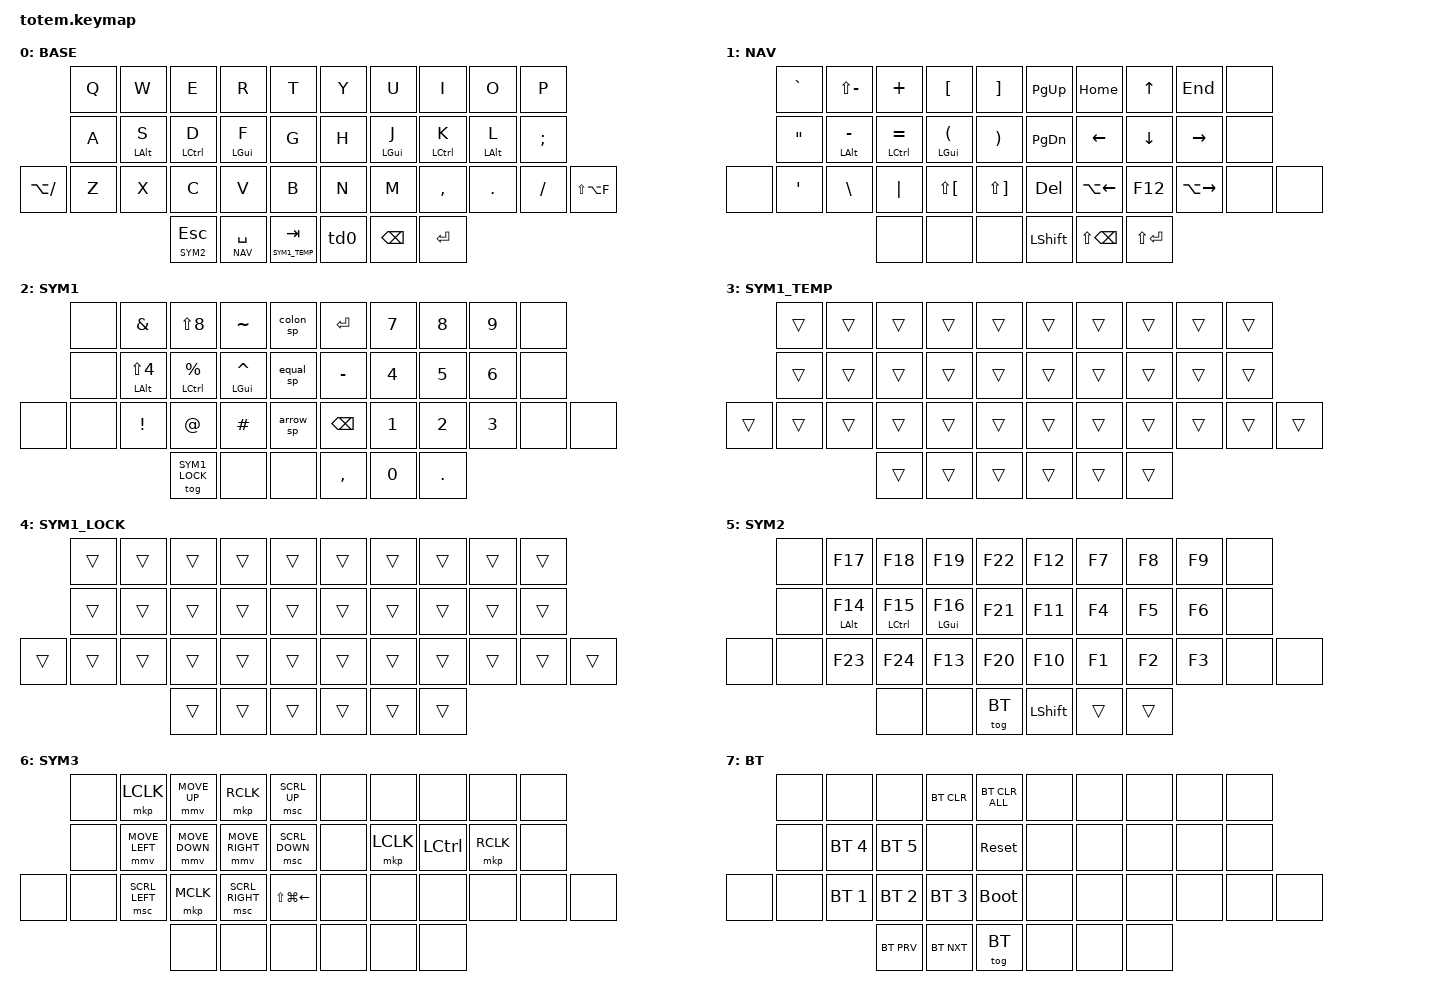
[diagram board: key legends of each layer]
//
//                                                        ▀▀▀▀▀     ▀▀▀▀▀          ▀▀█▀▀
//                                                        ▄▀▀▀▄  ▄  ▄▀▀▀▄  ▄  ▄▀▀▀▄  █  ▄▀▀▀▄
//                                                        █   █  █  █   █  █  █   █  █  █   █
//                                                         ▀▀▀   █   ▀▀▀   █   ▀▀▀   ▀   ▀▀▀
//                                                               █      ▄▄▄█▄▄▄    █   █  
//                                                               ▀      █  █  █     █▄█
//                                                             ▀▀▀▀▀    █  █  █      ▀
//                                                                      ▀  ▀  ▀
//
// ▄▄▄▄▄▄▄▄▄▄▄▄▄▄▄▄▄▄▄▄▄▄▄▄▄▄▄▄▄▄▄▄▄▄▄▄▄▄▄▄▄▄▄▄▄▄▄▄▄▄▄▄▄▄▄▄▄▄▄▄▄▄▄▄▄▄▄▄▄▄▄▄▄▄▄▄▄▄▄▄▄▄▄▄▄▄▄▄▄▄▄▄▄▄▄▄▄▄▄▄▄▄▄▄▄▄▄▄▄▄▄▄▄▄▄▄▄▄▄▄▄▄▄▄▄▄▄▄▄▄▄▄▄▄▄▄▄▄▄▄▄▄▄▄▄▄▄▄▄
       

#include <behaviors.dtsi>
#include <dt-bindings/zmk/keys.h>
#include <dt-bindings/zmk/pointing.h>
#include <dt-bindings/zmk/hid_usage.h>
#include <dt-bindings/zmk/bt.h>
#include <dt-bindings/zmk/outputs.h>

#define BASE 0
#define NAV  1
#define SYM1  2
#define SYM1_TEMP 3
#define SYM1_LOCK 4
#define SYM2  5
#define SYM3  6
#define BT 7

&mt {
  quick-tap-ms = <100>;
  global-quick-tap;
  flavor = "tap-preferred";
  tapping-term-ms = <170>;
};

/ {
    behaviors {
        ht: high_delay_mod_tap {
            compatible = "zmk,behavior-hold-tap";
            #binding-cells = <2>;
            flavor = "tap-preferred";
            tapping-term-ms = <225>;
            quick-tap-ms = <225>;
            bindings = <&kp>, <&kp>;
            display-name = "High-Delay-Mod-Tap";
        };
        td0: tap_dance_0 {
            compatible = "zmk,behavior-tap-dance";
            #binding-cells = <0>;
            tapping-term-ms = <225>;
            bindings = <&kp LSHFT>, <&mo SYM3>;
        };
    };
    macros {
        colon_sp: colon_sp {
            compatible = "zmk,behavior-macro";
            #binding-cells = <0>;
            label = "COLON_SPACE";
            bindings = <
                &kp LS(SEMI)
                &kp SPACE
            >;
        };
        equal_sp: equal_sp {
            compatible = "zmk,behavior-macro";
            #binding-cells = <0>;
            label = "EQUAL_SPACE";
            bindings = <
                &kp SPACE
                &kp EQUAL
                &kp SPACE
            >;
        };
        arrow_sp: arrow_sp {
            compatible = "zmk,behavior-macro";
            #binding-cells = <0>;
            label = "ARROW_SPACE";
            bindings = <
                &kp SPACE
                &kp MINUS
                &kp LS(DOT)
                &kp SPACE
            >;
        };
    };
    conditional_layers {
        compatible = "zmk,conditional-layers";
        sym1_temp {
            if-layers = <SYM1_TEMP>;
            then-layer = <SYM1>;
        };
        sym1_lock {
            if-layers = <SYM1_LOCK>;
            then-layer = <SYM1>;
        };
    };

        keymap {
                compatible = "zmk,keymap";
// ▄▄▄▄▄▄▄▄▄▄▄▄▄▄▄▄▄▄▄▄▄▄▄▄▄▄▄▄▄▄▄▄▄▄▄▄▄▄▄▄▄▄▄▄▄▄▄▄▄▄▄▄▄▄▄▄▄▄▄▄▄▄▄▄▄▄▄▄▄▄▄▄▄▄▄▄▄▄▄▄▄▄▄▄▄▄▄▄▄▄▄▄▄▄▄▄▄▄▄▄▄▄▄▄▄▄▄▄▄▄▄▄▄▄▄▄▄▄▄▄▄▄▄▄▄▄▄▄▄▄▄▄▄▄▄▄▄▄▄▄▄▄▄▄▄▄▄▄▄

                base_layer {
// ┏━━━━━━━━━━━━━━━━━━━━━━━━━━━━━━━━━━━━━━━┓
label= "BASE"                              ;
// ┗━━━━━━━━━━━━━━━━━━━━━━━━━━━━━━━━━━━━━━━┛
//             ┏━━━━━━━━━━━┳━━━━━━━━━━━┳━━━━━━━━━━━┳━━━━━━━━━━━┳━━━━━━━━━━━┓   ┏━━━━━━━━━━━┳━━━━━━━━━━━┳━━━━━━━━━━━┳━━━━━━━━━━━┳━━━━━━━━━━━┓
//             ┃     Q     ┃     W     ┃     E     ┃     R     ┃     T     ┃   ┃     Y     ┃     U     ┃     I     ┃     O     ┃     P     ┃
//             ┣━━━━━━━━━━━╋━━━━━━━━━━━╋━━━━━━━━━━━╋━━━━━━━━━━━╋━━━━━━━━━━━┫   ┣━━━━━━━━━━━╋━━━━━━━━━━━╋━━━━━━━━━━━╋━━━━━━━━━━━╋━━━━━━━━━━━┫
//             ┃     A     ┃  LALT S   ┃  LCTRL D  ┃  LGUI F   ┃     G     ┃   ┃     H     ┃   LGUI J  ┃  LCTRL K  ┃  LALT L   ┃     ;     ┃
// ┏━━━━━━━━━━━╋━━━━━━━━━━━╋━━━━━━━━━━━╋━━━━━━━━━━━╋━━━━━━━━━━━╋━━━━━━━━━━━┫   ┣━━━━━━━━━━━╋━━━━━━━━━━━╋━━━━━━━━━━━╋━━━━━━━━━━━╋━━━━━━━━━━━╋━━━━━━━━━━━┓
// ┃ LA(FSLH)  ┃     Z     ┃     X     ┃     C     ┃     V     ┃     B     ┃   ┃     N     ┃     M     ┃     ,     ┃     .     ┃     /     ┃ LS(LA(F)) ┃
// ┗━━━━━━━━━━━┻━━━━━━━━━━━┻━━━━━━━━━━━╋━━━━━━━━━━━╋━━━━━━━━━━━╋━━━━━━━━━━━┫   ┣━━━━━━━━━━━╋━━━━━━━━━━━╋━━━━━━━━━━━╋━━━━━━━━━━━┻━━━━━━━━━━━┻━━━━━━━━━━━┛
//                                     ┃ SYM2 ESC  ┃ NAV SPACE ┃ SYM1 TAB  ┃   ┃LSHIFT|SYM3┃    BSPC   ┃   ENTER   ┃
//                                     ┗━━━━━━━━━━━┻━━━━━━━━━━━┻━━━━━━━━━━━┛   ┗━━━━━━━━━━━┻━━━━━━━━━━━┻━━━━━━━━━━━┛
 bindings = <
// ╷           ╷           ╷           ╷           ╷           ╷           ╷      ╷           ╷             ╷           ╷           ╷              ╷           ╷

                &kp Q       &kp W       &kp E       &kp R       &kp T              &kp Y       &kp U         &kp I       &kp O       &kp P
                &kp A       &ht LALT S  &ht LCTRL D &ht LGUI F  &kp G              &kp H       &ht LGUI J    &ht LCTRL K &ht LALT L  &kp SEMI
 &kp LA(FSLH)   &kp Z       &kp X       &kp C       &kp V       &kp B              &kp N       &kp M         &kp COMMA   &kp DOT     &kp FSLH       &kp LS(LA(F))
                                     &lt SYM2 ESC &lt NAV SPACE &lt SYM1_TEMP TAB  &td0        &kp BSPC      &kp ENTER
                        >;
                };
// ▄▄▄▄▄▄▄▄▄▄▄▄▄▄▄▄▄▄▄▄▄▄▄▄▄▄▄▄▄▄▄▄▄▄▄▄▄▄▄▄▄▄▄▄▄▄▄▄▄▄▄▄▄▄▄▄▄▄▄▄▄▄▄▄▄▄▄▄▄▄▄▄▄▄▄▄▄▄▄▄▄▄▄▄▄▄▄▄▄▄▄▄▄▄▄▄▄▄▄▄▄▄▄▄▄▄▄▄▄▄▄▄▄▄▄▄▄▄▄▄▄▄▄▄▄▄▄▄▄▄▄▄▄▄▄▄▄▄▄▄▄▄▄▄▄▄▄▄▄


                navi_layer {
// ┏━━━━━━━━━━━━━━━━━━━━━━━━━━━━━━━━━━━━━━━┓
label= "NAV"                              ;
// ┗━━━━━━━━━━━━━━━━━━━━━━━━━━━━━━━━━━━━━━━┛
//             ┏━━━━━━━━━━━┳━━━━━━━━━━━┳━━━━━━━━━━━┳━━━━━━━━━━━┳━━━━━━━━━━━┓   ┏━━━━━━━━━━━┳━━━━━━━━━━━┳━━━━━━━━━━━┳━━━━━━━━━━━┳━━━━━━━━━━━┓
//             ┃     `     ┃     _     ┃     +     ┃     [     ┃     ]     ┃   ┃  PAGE_UP  ┃    HOME   ┃     UP    ┃    END    ┃           ┃
//             ┣━━━━━━━━━━━╋━━━━━━━━━━━╋━━━━━━━━━━━╋━━━━━━━━━━━╋━━━━━━━━━━━┫   ┣━━━━━━━━━━━╋━━━━━━━━━━━╋━━━━━━━━━━━╋━━━━━━━━━━━╋━━━━━━━━━━━┫
//             ┃     "     ┃   LALT -  ┃  LCTRL =  ┃  LGUI (   ┃     )     ┃   ┃ PAGE_DOWN ┃    LEFT   ┃    DOWN   ┃   RIGHT   ┃           ┃
// ┏━━━━━━━━━━━╋━━━━━━━━━━━╋━━━━━━━━━━━╋━━━━━━━━━━━╋━━━━━━━━━━━╋━━━━━━━━━━━┫   ┣━━━━━━━━━━━╋━━━━━━━━━━━╋━━━━━━━━━━━╋━━━━━━━━━━━╋━━━━━━━━━━━╋━━━━━━━━━━━┓
// ┃           ┃     '     ┃     \     ┃     |     ┃     {     ┃     }     ┃   ┃    DEL    ┃    BACK   ┃DECLARATION┃  FORWARD  ┃           ┃           ┃
// ┗━━━━━━━━━━━┻━━━━━━━━━━━┻━━━━━━━━━━━╋━━━━━━━━━━━╋━━━━━━━━━━━╋━━━━━━━━━━━┫   ┣━━━━━━━━━━━╋━━━━━━━━━━━╋━━━━━━━━━━━╋━━━━━━━━━━━┻━━━━━━━━━━━┻━━━━━━━━━━━┛
//                                     ┃           ┃     *     ┃           ┃   ┃   LSHFT   ┃  LS(BSPC) ┃ LS(ENTER) ┃
//                                     ┗━━━━━━━━━━━┻━━━━━━━━━━━┻━━━━━━━━━━━┛   ┗━━━━━━━━━━━┻━━━━━━━━━━━┻━━━━━━━━━━━┛
 bindings = <
// ╷           ╷            ╷               ╷              ╷              ╷           ╷  ╷                ╷                ╷              ╷                 ╷           ╷           ╷

                &kp GRAVE    &kp LS(MINUS)   &kp PLUS        &kp LBKT       &kp RBKT       &kp PAGE_UP      &kp HOME         &kp UP        &kp END           &none
                &kp DQT      &ht LALT MINUS  &ht LCTRL EQUAL &ht LGUI LPAR  &kp RPAR       &kp PAGE_DOWN    &kp LEFT         &kp DOWN      &kp RIGHT         &none
    &none       &kp APOS     &kp BSLH        &kp PIPE        &kp LS(LBKT)   &kp LS(RBKT)   &kp DEL          &kp LA(LEFT)     &kp F12       &kp LA(RIGHT)     &none       &none
                                             &none           &none          &none          &kp LSHFT        &kp LS(BSPC)     &kp LS(ENTER)
                        >;
                };

// ▄▄▄▄▄▄▄▄▄▄▄▄▄▄▄▄▄▄▄▄▄▄▄▄▄▄▄▄▄▄▄▄▄▄▄▄▄▄▄▄▄▄▄▄▄▄▄▄▄▄▄▄▄▄▄▄▄▄▄▄▄▄▄▄▄▄▄▄▄▄▄▄▄▄▄▄▄▄▄▄▄▄▄▄▄▄▄▄▄▄▄▄▄▄▄▄▄▄▄▄▄▄▄▄▄▄▄▄▄▄▄▄▄▄▄▄▄▄▄▄▄▄▄▄▄▄▄▄▄▄▄▄▄▄▄▄▄▄▄▄▄▄▄▄▄▄▄▄▄


                symbol_layer1 {
// ┏━━━━━━━━━━━━━━━━━━━━━━━━━━━━━━━━━━━━━━━┓
label= "SYM1"                              ;
// ┗━━━━━━━━━━━━━━━━━━━━━━━━━━━━━━━━━━━━━━━┛
//             ┏━━━━━━━━━━━┳━━━━━━━━━━━┳━━━━━━━━━━━┳━━━━━━━━━━━┳━━━━━━━━━━━┓   ┏━━━━━━━━━━━┳━━━━━━━━━━━┳━━━━━━━━━━━┳━━━━━━━━━━━┳━━━━━━━━━━━┓
//             ┃           ┃     &     ┃     *     ┃     ~     ┃    ': '   ┃   ┃   ENTER   ┃     7     ┃     8     ┃     9     ┃           ┃
//             ┣━━━━━━━━━━━╋━━━━━━━━━━━╋━━━━━━━━━━━╋━━━━━━━━━━━╋━━━━━━━━━━━┫   ┣━━━━━━━━━━━╋━━━━━━━━━━━╋━━━━━━━━━━━╋━━━━━━━━━━━╋━━━━━━━━━━━┫
//             ┃           ┃  LALT $   ┃  LCTRL %  ┃  LGUI ^   ┃   ' = '   ┃   ┃     -     ┃     4     ┃     5     ┃     6     ┃           ┃
// ┏━━━━━━━━━━━╋━━━━━━━━━━━╋━━━━━━━━━━━╋━━━━━━━━━━━╋━━━━━━━━━━━╋━━━━━━━━━━━┫   ┣━━━━━━━━━━━╋━━━━━━━━━━━╋━━━━━━━━━━━╋━━━━━━━━━━━╋━━━━━━━━━━━╋━━━━━━━━━━━┓
// ┃           ┃           ┃     !     ┃     @     ┃     #     ┃   ' -> '  ┃   ┃   BSPC    ┃     1     ┃     2     ┃     3     ┃           ┃           ┃
// ┗━━━━━━━━━━━┻━━━━━━━━━━━┻━━━━━━━━━━━╋━━━━━━━━━━━╋━━━━━━━━━━━╋━━━━━━━━━━━┫   ┣━━━━━━━━━━━╋━━━━━━━━━━━╋━━━━━━━━━━━╋━━━━━━━━━━━┻━━━━━━━━━━━┻━━━━━━━━━━━┛
//                                     ┃ SYM1_LOCK ┃           ┃     *     ┃   ┃     ,     ┃     0     ┃     .     ┃
//                                     ┗━━━━━━━━━━━┻━━━━━━━━━━━┻━━━━━━━━━━━┛   ┗━━━━━━━━━━━┻━━━━━━━━━━━┻━━━━━━━━━━━┛
 bindings = <
// ╷           ╷           ╷                ╷               ╷              ╷         ╷   ╷           ╷           ╷           ╷           ╷           ╷           ╷

                &none       &kp AMPS         &kp LS(N8)      &kp TILDE      &colon_sp     &kp ENTER   &kp N7      &kp N8      &kp N9      &none
                &none       &ht LALT LS(N4)  &ht LCTRL PRCNT &ht LGUI CARET &equal_sp     &kp MINUS   &kp N4      &kp N5      &kp N6      &none
    &none       &none       &kp EXCL         &kp AT          &kp HASH       &arrow_sp     &kp BSPC    &kp N1      &kp N2      &kp N3      &none       &none
                                             &tog SYM1_LOCK  &none          &none         &kp COMMA   &kp N0      &kp DOT
                        >;
                };

                symbol_layer1_temp {
label= "SYM1_TEMP"                              ;
 bindings = <
                &trans &trans &trans &trans &trans  &trans &trans &trans &trans &trans
                &trans &trans &trans &trans &trans  &trans &trans &trans &trans &trans
         &trans &trans &trans &trans &trans &trans  &trans &trans &trans &trans &trans &trans
                              &trans &trans &trans  &trans &trans &trans
                        >;
                };

                symbol_layer1_lock {
label= "SYM1_LOCK"                              ;
 bindings = <
                &trans &trans &trans &trans &trans  &trans &trans &trans &trans &trans
                &trans &trans &trans &trans &trans  &trans &trans &trans &trans &trans
         &trans &trans &trans &trans &trans &trans  &trans &trans &trans &trans &trans &trans
                              &trans &trans &trans  &trans &trans &trans
                        >;
                };
// ▄▄▄▄▄▄▄▄▄▄▄▄▄▄▄▄▄▄▄▄▄▄▄▄▄▄▄▄▄▄▄▄▄▄▄▄▄▄▄▄▄▄▄▄▄▄▄▄▄▄▄▄▄▄▄▄▄▄▄▄▄▄▄▄▄▄▄▄▄▄▄▄▄▄▄▄▄▄▄▄▄▄▄▄▄▄▄▄▄▄▄▄▄▄▄▄▄▄▄▄▄▄▄▄▄▄▄▄▄▄▄▄▄▄▄▄▄▄▄▄▄▄▄▄▄▄▄▄▄▄▄▄▄▄▄▄▄▄▄▄▄▄▄▄▄▄▄▄▄


                symbol_layer2 {
// ┏━━━━━━━━━━━━━━━━━━━━━━━━━━━━━━━━━━━━━━━┓
label= "SYM2"                              ;
// ┗━━━━━━━━━━━━━━━━━━━━━━━━━━━━━━━━━━━━━━━┛
//             ┏━━━━━━━━━━━┳━━━━━━━━━━━┳━━━━━━━━━━━┳━━━━━━━━━━━┳━━━━━━━━━━━┓   ┏━━━━━━━━━━━┳━━━━━━━━━━━┳━━━━━━━━━━━┳━━━━━━━━━━━┳━━━━━━━━━━━┓
//             ┃           ┃    F17    ┃    F18    ┃    F19    ┃    F22    ┃   ┃    F12    ┃    F7     ┃     F8    ┃     F9    ┃           ┃
//             ┣━━━━━━━━━━━╋━━━━━━━━━━━╋━━━━━━━━━━━╋━━━━━━━━━━━╋━━━━━━━━━━━┫   ┣━━━━━━━━━━━╋━━━━━━━━━━━╋━━━━━━━━━━━╋━━━━━━━━━━━╋━━━━━━━━━━━┫
//             ┃           ┃ LALT F14  ┃ LCTRL F15 ┃ LGUI F16  ┃    F21    ┃   ┃    F11    ┃    F4     ┃     F5    ┃     F6    ┃           ┃
// ┏━━━━━━━━━━━╋━━━━━━━━━━━╋━━━━━━━━━━━╋━━━━━━━━━━━╋━━━━━━━━━━━╋━━━━━━━━━━━┫   ┣━━━━━━━━━━━╋━━━━━━━━━━━╋━━━━━━━━━━━╋━━━━━━━━━━━╋━━━━━━━━━━━╋━━━━━━━━━━━┓
// ┃           ┃           ┃    F23    ┃    F24    ┃    F13    ┃    F20    ┃   ┃    F10    ┃    F1     ┃     F2    ┃     F3    ┃           ┃           ┃
// ┗━━━━━━━━━━━┻━━━━━━━━━━━┻━━━━━━━━━━━╋━━━━━━━━━━━╋━━━━━━━━━━━╋━━━━━━━━━━━┫   ┣━━━━━━━━━━━╋━━━━━━━━━━━╋━━━━━━━━━━━╋━━━━━━━━━━━┻━━━━━━━━━━━┻━━━━━━━━━━━┛
//                                     ┃     *     ┃           ┃    BT     ┃   ┃   LSHIFT  ┃    BSPC   ┃   ENTER   ┃
//                                     ┗━━━━━━━━━━━┻━━━━━━━━━━━┻━━━━━━━━━━━┛   ┗━━━━━━━━━━━┻━━━━━━━━━━━┻━━━━━━━━━━━┛
 bindings = <
// ╷           ╷           ╷            ╷             ╷            ╷           ╷   ╷           ╷           ╷           ╷           ╷           ╷          ╷

                &none       &kp F17      &kp F18       &kp F19      &kp F22         &kp F12     &kp F7      &kp F8      &kp F9      &none
                &none       &mt LALT F14 &mt LCTRL F15 &mt LGUI F16 &kp F21         &kp F11     &kp F4      &kp F5      &kp F6      &none
    &none       &none       &kp F23      &kp F24       &kp F13      &kp F20         &kp F10     &kp F1      &kp F2      &kp F3      &none       &none
                                         &none         &none        &tog BT         &kp LSHFT   &trans      &trans
                        >;
                };

// ▄▄▄▄▄▄▄▄▄▄▄▄▄▄▄▄▄▄▄▄▄▄▄▄▄▄▄▄▄▄▄▄▄▄▄▄▄▄▄▄▄▄▄▄▄▄▄▄▄▄▄▄▄▄▄▄▄▄▄▄▄▄▄▄▄▄▄▄▄▄▄▄▄▄▄▄▄▄▄▄▄▄▄▄▄▄▄▄▄▄▄▄▄▄▄▄▄▄▄▄▄▄▄▄▄▄▄▄▄▄▄▄▄▄▄▄▄▄▄▄▄▄▄▄▄▄▄▄▄▄▄▄▄▄▄▄▄▄▄▄▄▄▄▄▄▄▄▄▄

                symbol_layer3 {
// ┏━━━━━━━━━━━━━━━━━━━━━━━━━━━━━━━━━━━━━━━┓
label= "SYM3"                              ;
// ┗━━━━━━━━━━━━━━━━━━━━━━━━━━━━━━━━━━━━━━━┛
//             ┏━━━━━━━━━━━┳━━━━━━━━━━━┳━━━━━━━━━━━┳━━━━━━━━━━━┳━━━━━━━━━━━┓   ┏━━━━━━━━━━━┳━━━━━━━━━━━┳━━━━━━━━━━━┳━━━━━━━━━━━┳━━━━━━━━━━━┓
//             ┃           ┃   LCLK    ┃    MUP    ┃    RCLK   ┃  SCRL_UP  ┃   ┃           ┃           ┃           ┃           ┃           ┃
//             ┣━━━━━━━━━━━╋━━━━━━━━━━━╋━━━━━━━━━━━╋━━━━━━━━━━━╋━━━━━━━━━━━┫   ┣━━━━━━━━━━━╋━━━━━━━━━━━╋━━━━━━━━━━━╋━━━━━━━━━━━╋━━━━━━━━━━━┫
//             ┃           ┃   MLEFT   ┃   MDOWN   ┃   MRIGHT  ┃ SCRL_DOWN ┃   ┃           ┃   LCLK    ┃   LCTRL   ┃   RCLK    ┃           ┃
// ┏━━━━━━━━━━━╋━━━━━━━━━━━╋━━━━━━━━━━━╋━━━━━━━━━━━╋━━━━━━━━━━━╋━━━━━━━━━━━┫   ┣━━━━━━━━━━━╋━━━━━━━━━━━╋━━━━━━━━━━━╋━━━━━━━━━━━╋━━━━━━━━━━━╋━━━━━━━━━━━┓
// ┃           ┃           ┃   SCRL_L  ┃   MCLK    ┃   SCRL_R  ┃SHFT_GUI_L ┃   ┃           ┃           ┃           ┃           ┃           ┃           ┃
// ┗━━━━━━━━━━━┻━━━━━━━━━━━┻━━━━━━━━━━━╋━━━━━━━━━━━╋━━━━━━━━━━━╋━━━━━━━━━━━┫   ┣━━━━━━━━━━━╋━━━━━━━━━━━╋━━━━━━━━━━━╋━━━━━━━━━━━┻━━━━━━━━━━━┻━━━━━━━━━━━┛
//                                     ┃           ┃           ┃           ┃   ┃     *     ┃           ┃           ┃
//                                     ┗━━━━━━━━━━━┻━━━━━━━━━━━┻━━━━━━━━━━━┛   ┗━━━━━━━━━━━┻━━━━━━━━━━━┻━━━━━━━━━━━┛
 bindings = <
// ╷           ╷           ╷              ╷              ╷               ╷               ╷ ╷           ╷           ╷           ╷           ╷           ╷           ╷

                &none       &mkp LCLK      &mmv MOVE_UP   &mkp RCLK       &msc SCRL_UP      &none       &none       &none       &none       &none
                &none       &mmv MOVE_LEFT &mmv MOVE_DOWN &mmv MOVE_RIGHT &msc SCRL_DOWN    &none       &mkp LCLK   &kp LCTRL   &mkp RCLK   &none
    &none       &none       &msc SCRL_LEFT &mkp MCLK      &msc SCRL_RIGHT &kp LS(LG(LEFT))  &none       &none       &none       &none       &none       &none
                                           &none          &none           &none             &none       &none       &none
                        >;
                };

// ▄▄▄▄▄▄▄▄▄▄▄▄▄▄▄▄▄▄▄▄▄▄▄▄▄▄▄▄▄▄▄▄▄▄▄▄▄▄▄▄▄▄▄▄▄▄▄▄▄▄▄▄▄▄▄▄▄▄▄▄▄▄▄▄▄▄▄▄▄▄▄▄▄▄▄▄▄▄▄▄▄▄▄▄▄▄▄▄▄▄▄▄▄▄▄▄▄▄▄▄▄▄▄▄▄▄▄▄▄▄▄▄▄▄▄▄▄▄▄▄▄▄▄▄▄▄▄▄▄▄▄▄▄▄▄▄▄▄▄▄▄▄▄▄▄▄▄▄▄


                bt_layer {
// ┏━━━━━━━━━━━━━━━━━━━━━━━━━━━━━━━━━━━━━━━┓
label= "BT"                               ;
// ┗━━━━━━━━━━━━━━━━━━━━━━━━━━━━━━━━━━━━━━━┛
//             ┏━━━━━━━━━━━┳━━━━━━━━━━━┳━━━━━━━━━━━┳━━━━━━━━━━━┳━━━━━━━━━━━┓   ┏━━━━━━━━━━━┳━━━━━━━━━━━┳━━━━━━━━━━━┳━━━━━━━━━━━┳━━━━━━━━━━━┓
//             ┃           ┃           ┃           ┃  BT_CLR   ┃BT_CLR_ALL ┃   ┃           ┃           ┃           ┃           ┃           ┃
//             ┣━━━━━━━━━━━╋━━━━━━━━━━━╋━━━━━━━━━━━╋━━━━━━━━━━━╋━━━━━━━━━━━┫   ┣━━━━━━━━━━━╋━━━━━━━━━━━╋━━━━━━━━━━━╋━━━━━━━━━━━╋━━━━━━━━━━━┫
//             ┃           ┃ BT_SEL 4  ┃ BT_SEL 5  ┃           ┃ sys_reset ┃   ┃           ┃           ┃           ┃           ┃           ┃
// ┏━━━━━━━━━━━╋━━━━━━━━━━━╋━━━━━━━━━━━╋━━━━━━━━━━━╋━━━━━━━━━━━╋━━━━━━━━━━━┫   ┣━━━━━━━━━━━╋━━━━━━━━━━━╋━━━━━━━━━━━╋━━━━━━━━━━━╋━━━━━━━━━━━╋━━━━━━━━━━━┓
// ┃           ┃           ┃ BT_SEL 1  ┃ BT_SEL 2  ┃ BT_SEL 3  ┃bootloader ┃   ┃           ┃           ┃           ┃           ┃           ┃           ┃
// ┗━━━━━━━━━━━┻━━━━━━━━━━━┻━━━━━━━━━━━╋━━━━━━━━━━━╋━━━━━━━━━━━╋━━━━━━━━━━━┫   ┣━━━━━━━━━━━╋━━━━━━━━━━━╋━━━━━━━━━━━╋━━━━━━━━━━━┻━━━━━━━━━━━┻━━━━━━━━━━━┛
//                                     ┃  BT_PRV   ┃  BT_NXT   ┃    BT     ┃   ┃           ┃           ┃           ┃
//                                     ┗━━━━━━━━━━━┻━━━━━━━━━━━┻━━━━━━━━━━━┛   ┗━━━━━━━━━━━┻━━━━━━━━━━━┻━━━━━━━━━━━┛
 bindings = <
// ╷           ╷           ╷            ╷            ╷            ╷              ╷   ╷           ╷           ╷             ╷           ╷           ╷           ╷

                &none      &none         &none        &bt BT_CLR   &bt BT_CLR_ALL     &none       &none       &none         &none       &none
                &none      &bt BT_SEL 4  &bt BT_SEL 5 &none        &sys_reset         &none       &none       &none         &none       &none
    &none       &none      &bt BT_SEL 1  &bt BT_SEL 2 &bt BT_SEL 3 &bootloader        &none       &none       &none         &none       &none       &none
                                         &bt BT_PRV   &bt BT_NXT   &tog BT            &none       &none       &none
                        >;
                };
        };
};
